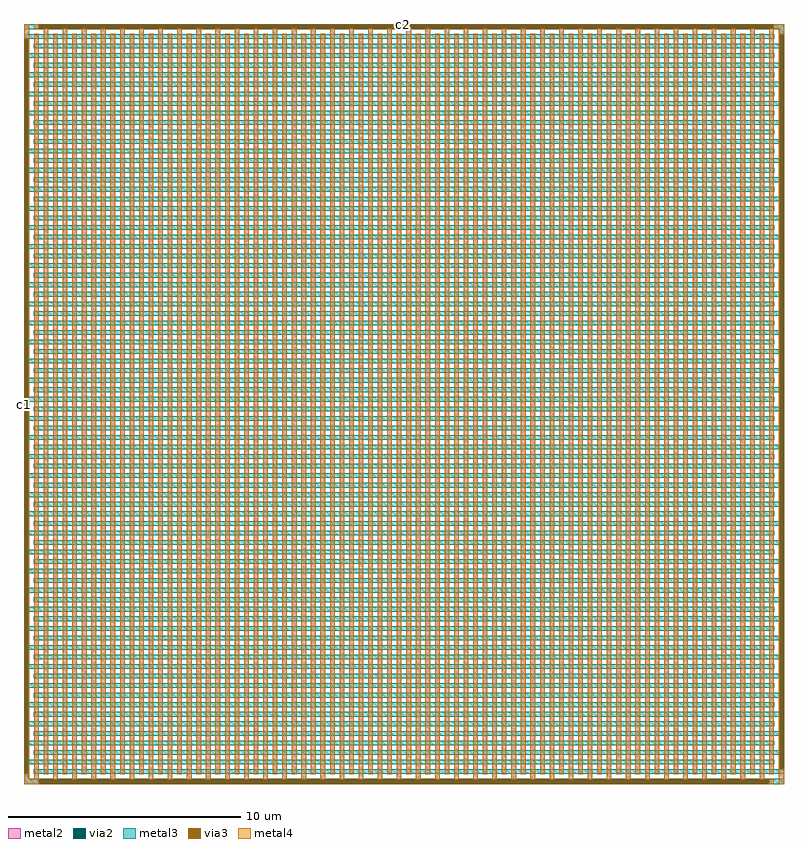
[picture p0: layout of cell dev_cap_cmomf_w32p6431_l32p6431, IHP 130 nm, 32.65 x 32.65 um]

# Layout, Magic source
magic
tech ihp-sg13cmos5l
magscale 1 2
<< metal2 >>
rect 0 6401 45 6529
rect 87 6489 127 6529
rect 6441 6489 6529 6529
rect 40 87 45 6401
rect 0 40 45 87
rect 87 40 127 6446
rect 169 83 209 6489
rect 251 40 291 6446
rect 333 83 373 6489
rect 415 40 455 6446
rect 497 83 537 6489
rect 579 40 619 6446
rect 661 83 701 6489
rect 743 40 783 6446
rect 825 83 865 6489
rect 907 40 947 6446
rect 989 83 1029 6489
rect 1071 40 1111 6446
rect 1153 83 1193 6489
rect 1235 40 1275 6446
rect 1317 83 1357 6489
rect 1399 40 1439 6446
rect 1481 83 1521 6489
rect 1563 40 1603 6446
rect 1645 83 1685 6489
rect 1727 40 1767 6446
rect 1809 83 1849 6489
rect 1891 40 1931 6446
rect 1973 83 2013 6489
rect 2055 40 2095 6446
rect 2137 83 2177 6489
rect 2219 40 2259 6446
rect 2301 83 2341 6489
rect 2383 40 2423 6446
rect 2465 83 2505 6489
rect 2547 40 2587 6446
rect 2629 83 2669 6489
rect 2711 40 2751 6446
rect 2793 83 2833 6489
rect 2875 40 2915 6446
rect 2957 83 2997 6489
rect 3039 40 3079 6446
rect 3121 83 3161 6489
rect 3203 40 3243 6446
rect 3285 83 3325 6489
rect 3367 40 3407 6446
rect 3449 83 3489 6489
rect 3531 40 3571 6446
rect 3613 83 3653 6489
rect 3695 40 3735 6446
rect 3777 83 3817 6489
rect 3859 40 3899 6446
rect 3941 83 3981 6489
rect 4023 40 4063 6446
rect 4105 83 4145 6489
rect 4187 40 4227 6446
rect 4269 83 4309 6489
rect 4351 40 4391 6446
rect 4433 83 4473 6489
rect 4515 40 4555 6446
rect 4597 83 4637 6489
rect 4679 40 4719 6446
rect 4761 83 4801 6489
rect 4843 40 4883 6446
rect 4925 83 4965 6489
rect 5007 40 5047 6446
rect 5089 83 5129 6489
rect 5171 40 5211 6446
rect 5253 83 5293 6489
rect 5335 40 5375 6446
rect 5417 83 5457 6489
rect 5499 40 5539 6446
rect 5581 83 5621 6489
rect 5663 40 5703 6446
rect 5745 83 5785 6489
rect 5827 40 5867 6446
rect 5909 83 5949 6489
rect 5991 40 6031 6446
rect 6073 83 6113 6489
rect 6155 40 6195 6446
rect 6237 83 6277 6489
rect 6319 40 6359 6446
rect 6401 83 6441 6489
rect 6483 6441 6529 6489
rect 6483 127 6489 6441
rect 0 0 127 40
rect 6401 0 6441 40
rect 6483 0 6529 127
<< via2 >>
rect 127 6489 6441 6529
rect 0 87 40 6401
rect 6489 127 6529 6441
rect 127 0 6401 40
<< metal3 >>
rect 0 6489 127 6529
rect 6441 6489 6529 6529
rect 0 6483 6529 6489
rect 6489 6441 6529 6483
rect 0 6401 6447 6441
rect 82 6319 6489 6359
rect 40 6237 6447 6277
rect 82 6155 6489 6195
rect 40 6073 6447 6113
rect 82 5991 6489 6031
rect 40 5909 6447 5949
rect 82 5827 6489 5867
rect 40 5745 6447 5785
rect 82 5663 6489 5703
rect 40 5581 6447 5621
rect 82 5499 6489 5539
rect 40 5417 6447 5457
rect 82 5335 6489 5375
rect 40 5253 6447 5293
rect 82 5171 6489 5211
rect 40 5089 6447 5129
rect 82 5007 6489 5047
rect 40 4925 6447 4965
rect 82 4843 6489 4883
rect 40 4761 6447 4801
rect 82 4679 6489 4719
rect 40 4597 6447 4637
rect 82 4515 6489 4555
rect 40 4433 6447 4473
rect 82 4351 6489 4391
rect 40 4269 6447 4309
rect 82 4187 6489 4227
rect 40 4105 6447 4145
rect 82 4023 6489 4063
rect 40 3941 6447 3981
rect 82 3859 6489 3899
rect 40 3777 6447 3817
rect 82 3695 6489 3735
rect 40 3613 6447 3653
rect 82 3531 6489 3571
rect 40 3449 6447 3489
rect 82 3367 6489 3407
rect 40 3285 6447 3325
rect 82 3203 6489 3243
rect 40 3121 6447 3161
rect 82 3039 6489 3079
rect 40 2957 6447 2997
rect 82 2875 6489 2915
rect 40 2793 6447 2833
rect 82 2711 6489 2751
rect 40 2629 6447 2669
rect 82 2547 6489 2587
rect 40 2465 6447 2505
rect 82 2383 6489 2423
rect 40 2301 6447 2341
rect 82 2219 6489 2259
rect 40 2137 6447 2177
rect 82 2055 6489 2095
rect 40 1973 6447 2013
rect 82 1891 6489 1931
rect 40 1809 6447 1849
rect 82 1727 6489 1767
rect 40 1645 6447 1685
rect 82 1563 6489 1603
rect 40 1481 6447 1521
rect 82 1399 6489 1439
rect 40 1317 6447 1357
rect 82 1235 6489 1275
rect 40 1153 6447 1193
rect 82 1071 6489 1111
rect 40 989 6447 1029
rect 82 907 6489 947
rect 40 825 6447 865
rect 82 743 6489 783
rect 40 661 6447 701
rect 82 579 6489 619
rect 40 497 6447 537
rect 82 415 6489 455
rect 40 333 6447 373
rect 82 251 6489 291
rect 40 169 6447 209
rect 82 87 6529 127
rect 0 45 40 87
rect 0 40 6529 45
rect 0 0 127 40
rect 6401 0 6529 40
<< via3 >>
rect 127 6489 6441 6529
rect 0 87 40 6401
rect 6489 127 6529 6441
rect 127 0 6401 40
<< metal4 >>
rect 0 6401 45 6529
rect 87 6489 127 6529
rect 6441 6489 6529 6529
rect 40 87 45 6401
rect 0 40 45 87
rect 87 40 127 6447
rect 169 82 209 6489
rect 251 40 291 6447
rect 333 82 373 6489
rect 415 40 455 6447
rect 497 82 537 6489
rect 579 40 619 6447
rect 661 82 701 6489
rect 743 40 783 6447
rect 825 82 865 6489
rect 907 40 947 6447
rect 989 82 1029 6489
rect 1071 40 1111 6447
rect 1153 82 1193 6489
rect 1235 40 1275 6447
rect 1317 82 1357 6489
rect 1399 40 1439 6447
rect 1481 82 1521 6489
rect 1563 40 1603 6447
rect 1645 82 1685 6489
rect 1727 40 1767 6447
rect 1809 82 1849 6489
rect 1891 40 1931 6447
rect 1973 82 2013 6489
rect 2055 40 2095 6447
rect 2137 82 2177 6489
rect 2219 40 2259 6447
rect 2301 82 2341 6489
rect 2383 40 2423 6447
rect 2465 82 2505 6489
rect 2547 40 2587 6447
rect 2629 82 2669 6489
rect 2711 40 2751 6447
rect 2793 82 2833 6489
rect 2875 40 2915 6447
rect 2957 82 2997 6489
rect 3039 40 3079 6447
rect 3121 82 3161 6489
rect 3203 40 3243 6447
rect 3285 82 3325 6489
rect 3367 40 3407 6447
rect 3449 82 3489 6489
rect 3531 40 3571 6447
rect 3613 82 3653 6489
rect 3695 40 3735 6447
rect 3777 82 3817 6489
rect 3859 40 3899 6447
rect 3941 82 3981 6489
rect 4023 40 4063 6447
rect 4105 82 4145 6489
rect 4187 40 4227 6447
rect 4269 82 4309 6489
rect 4351 40 4391 6447
rect 4433 82 4473 6489
rect 4515 40 4555 6447
rect 4597 82 4637 6489
rect 4679 40 4719 6447
rect 4761 82 4801 6489
rect 4843 40 4883 6447
rect 4925 82 4965 6489
rect 5007 40 5047 6447
rect 5089 82 5129 6489
rect 5171 40 5211 6447
rect 5253 82 5293 6489
rect 5335 40 5375 6447
rect 5417 82 5457 6489
rect 5499 40 5539 6447
rect 5581 82 5621 6489
rect 5663 40 5703 6447
rect 5745 82 5785 6489
rect 5827 40 5867 6447
rect 5909 82 5949 6489
rect 5991 40 6031 6447
rect 6073 82 6113 6489
rect 6155 40 6195 6447
rect 6237 82 6277 6489
rect 6319 40 6359 6447
rect 6401 82 6441 6489
rect 6483 6441 6529 6489
rect 6483 127 6489 6441
rect 0 0 127 40
rect 6401 0 6441 40
rect 6483 0 6529 127
<< labels >>
rlabel via3 2 3264 2 3264 0 c1
port 1 nsew
rlabel via3 3264 6527 3264 6527 0 c2
port 2 nsew
<< properties >>
string device devcap None 0 0 1 1 1033.2546 c1 0 0 c2 0 0
string FIXED_BBOX 0 0 6529 6529
string gencell cap_cmomf
string library sg13cmos5l
string parameters w 32.6431 l 32.6431 value 9.28 class capacitor mmin metal2 mmax metal4 square 1 subblock 0 lmin 2.00 wmin 2.00 lmax 100.0 wmax 100.0
<< end >>
